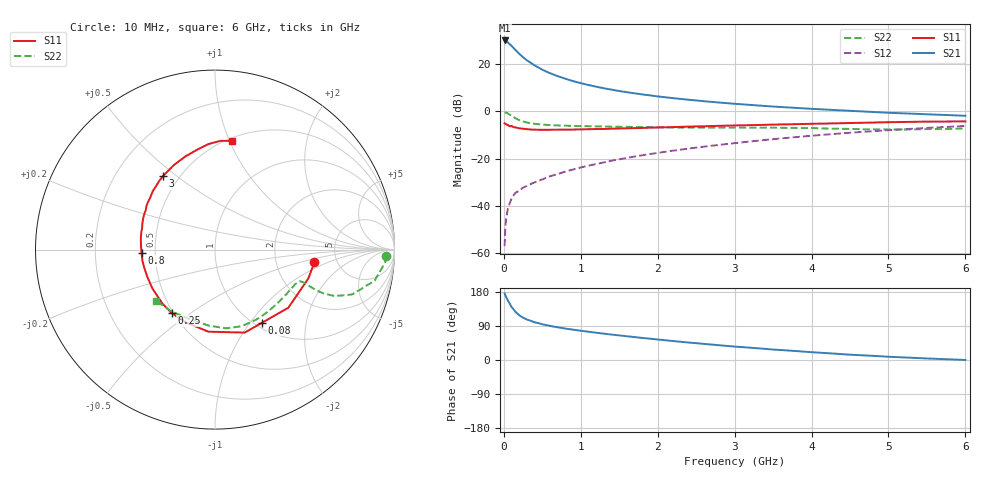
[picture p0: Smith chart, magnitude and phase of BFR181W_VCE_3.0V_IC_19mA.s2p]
! Infineon Technologies  Discrete & RF Semiconductors
! BFR181W
! VCE =  3.0 V,  IC =  19 mA
! Common Emitter S-Parameters:  Jan 2017
# GHz  S  MA  R  50
!  f  S11  S21  S12  S22
! GHz  MAG  ANG  MAG  ANG  MAG  ANG  MAG  ANG
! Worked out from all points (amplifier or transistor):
!   77 points, 10 MHz to 6 GHz, reference 50 ohm
!   highest |S21| = 30.0 dB at 10 MHz (marker M1)
!   |S21| within 3 dB of that: start of sweep to 121.4 MHz
!   unconditionally stable (mu >= 1): 463.1 MHz to 2.638 GHz
!   at 130 MHz: K = 0.47, MSG = 31.1 dB, |S12| = -35.4 dB
!   at 2.2 GHz: K = 1.06, MAG = 9.6 dB, |S12| = -16.7 dB
!   at 6 GHz: K = 0.87, MSG = 2.2 dB, |S12| = -6.2 dB
!   S11 on the Smith chart (normalised r, x): 10 MHz: 3.38, -0.69; 80 MHz: 1.08, -1.15; 250 MHz: 0.49, -0.42; 800 MHz: 0.42, -0.02; 3 GHz: 0.41, +0.45; 6 GHz: 0.53, +1.02
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0.01  0.5587 -7.2  31.65 175.9  0.0014 91.7  0.9536 -2.1
0.02  0.5444 -17.2  31.04 170.5  0.0036 76.8  0.9505 -4.3
0.05  0.5214 -38.4  29.16 157.6  0.0083 75.6  0.9063 -11.0
0.08  0.4845 -57.2  26 147.6  0.0117 69.0  0.8433 -15.1
0.1  0.4912 -70.3  24.42 139.6  0.0141 66.4  0.804 -18.1
0.15  0.4588 -94.6  20.01 127.2  0.0188 62.4  0.716 -21.2
0.2  0.4373 -111.2  16.52 118.1  0.0209 60.7  0.6524 -22.0
0.25  0.4282 -124.4  13.97 111.7  0.0244 60.8  0.6096 -21.9
0.3  0.42 -134.4  12 106.7  0.0263 60.5  0.5794 -21.4
0.4  0.4104 -148.3  9.364 99.5  0.0315 63.3  0.5439 -20.7
0.5  0.4066 -158.2  7.613 94.3  0.0362 65.2  0.5241 -20.3
0.6  0.4071 -165.9  6.424 90.0  0.0422 67.4  0.5118 -20.4
0.7  0.409 -171.8  5.546 86.4  0.047 69.7  0.5032 -20.6
0.8  0.4098 -177.4  4.894 82.9  0.0532 71.2  0.4969 -21.4
1.1  0.4186 170.5  3.612 74.6  0.0708 74.0  0.4842 -24.3
1.5  0.4334 158.2  2.696 64.9  0.0965 75.3  0.4712 -30.0
2.1  0.4597 143.1  1.985 52.1  0.1393 74.7  0.4578 -41.1
3  0.5021 125.1  1.445 35.4  0.212 70.2  0.4521 -60.4
3.1  0.5054 123.2  1.407 34.0  0.221 69.4  0.4509 -62.5
4.1  0.5484 105.9  1.109 19.4  0.3137 60.8  0.4374 -84.5
5.1  0.5922 92.2  0.919 7.7  0.4084 50.1  0.4123 -113.2
6  0.6127 81.1  0.806 0.1  0.4907 39.5  0.4353 -139.1
